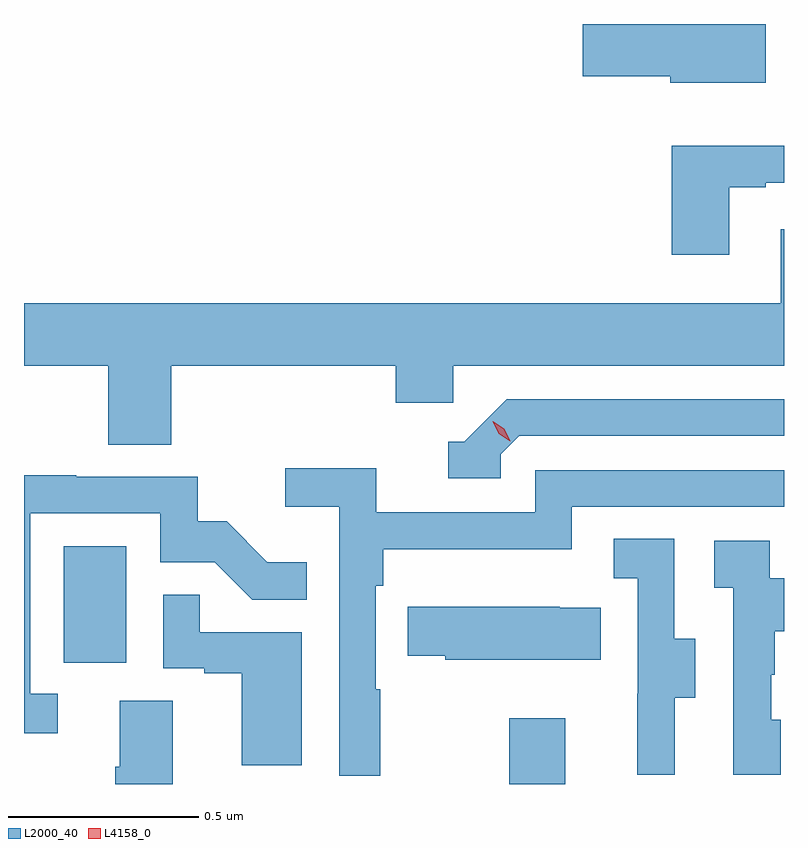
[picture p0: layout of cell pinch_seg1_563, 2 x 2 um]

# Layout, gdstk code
import gdstk
lib = gdstk.Library(unit=1e-6, precision=1e-09)
def R(c, l, rs):  # rectangles x0, y0, x1, y1
    for r in rs: c.add(gdstk.rectangle(r[:2], r[2:], *l))
def P(c, l, *ps):  # polygons
    for p in ps: c.add(gdstk.Polygon(p, *l))
L2000_40 = (2000, 40)
L4158_0 = (4158, 0)

pinch_seg1_563 = lib.new_cell('pinch_seg1_563')
R(pinch_seg1_563, L2000_40, [(1035.4,531.983,1035.547,532.156), (1034.228,532.302,1034.392,532.609)])
P(pinch_seg1_563, L2000_40, [(1036.075,533.983),(1035.594,533.983),(1035.594,533.846),(1035.824,533.846),(1035.824,533.828),(1036.075,533.828)],
  [(1035.979,533.553),(1036.075,533.553),(1036.075,533.565),(1036.123,533.565),(1036.123,533.662),(1035.827,533.662),(1035.827,533.376),(1035.979,533.376)],
  [(1034.51,533.084),(1035.101,533.084),(1035.101,532.986),(1035.252,532.986),(1035.252,533.084),(1036.123,533.084),(1036.123,533.443),(1036.115,533.443),(1036.115,533.248),(1034.123,533.248),(1034.123,533.084),(1034.345,533.084),(1034.345,532.876),(1034.51,532.876)],
  [(1035.378,532.851),(1035.426,532.899),(1036.123,532.899),(1036.123,532.995),(1035.393,532.995),(1035.282,532.884),(1035.239,532.884),(1035.239,532.788),(1035.378,532.788)],
  [(1035.061,532.232),(1035.048,532.232),(1035.048,532.505),(1035.068,532.505),(1035.068,532.601),(1035.564,532.601),(1035.564,532.713),(1036.123,532.713),(1036.123,532.809),(1035.468,532.809),(1035.468,532.698),(1035.05,532.698),(1035.05,532.814),(1034.811,532.814),(1034.811,532.712),(1034.952,532.712),(1034.952,532.005),(1035.061,532.005)],
  [(1034.212,532.221),(1034.139,532.221),(1034.139,532.695),(1034.481,532.695),(1034.481,532.566),(1034.625,532.566),(1034.723,532.468),(1034.867,532.468),(1034.867,532.567),(1034.763,532.567),(1034.656,532.674),(1034.58,532.674),(1034.58,532.791),(1034.261,532.791),(1034.261,532.796),(1034.123,532.796),(1034.123,532.116),(1034.212,532.116)],
  [(1035.835,532.21),(1035.889,532.21),(1035.889,532.365),(1035.834,532.365),(1035.834,532.628),(1035.675,532.628),(1035.675,532.525),(1035.738,532.525),(1035.738,532.221),(1035.737,532.221),(1035.737,532.008),(1035.835,532.008)],
  [(1036.114,532.152),(1036.089,532.152),(1036.089,532.271),(1036.099,532.271),(1036.099,532.385),(1036.123,532.385),(1036.123,532.525),(1036.086,532.525),(1036.086,532.623),(1035.939,532.623),(1035.939,532.499),(1035.99,532.499),(1035.99,532.008),(1036.114,532.008)],
  [(1034.854,532.383),(1034.585,532.383),(1034.585,532.481),(1034.49,532.481),(1034.49,532.287),(1034.597,532.287),(1034.597,532.275),(1034.696,532.275),(1034.696,532.032),(1034.854,532.032)],
  [(1035.641,532.447),(1035.533,532.447),(1035.533,532.45),(1035.133,532.45),(1035.133,532.321),(1035.231,532.321),(1035.231,532.31),(1035.641,532.31)],
  [(1034.515,532.202),(1034.375,532.202),(1034.375,532.028),(1034.363,532.028),(1034.363,531.983),(1034.515,531.983)])
P(pinch_seg1_563, L4158_0, [(1035.402,532.885),(1035.372,532.905),(1035.356,532.938),(1035.356,532.938),(1035.356,532.938),(1035.387,532.918),(1035.403,532.886),(1035.403,532.885)])

lib.write_gds('pinch_seg1_563.gds')
